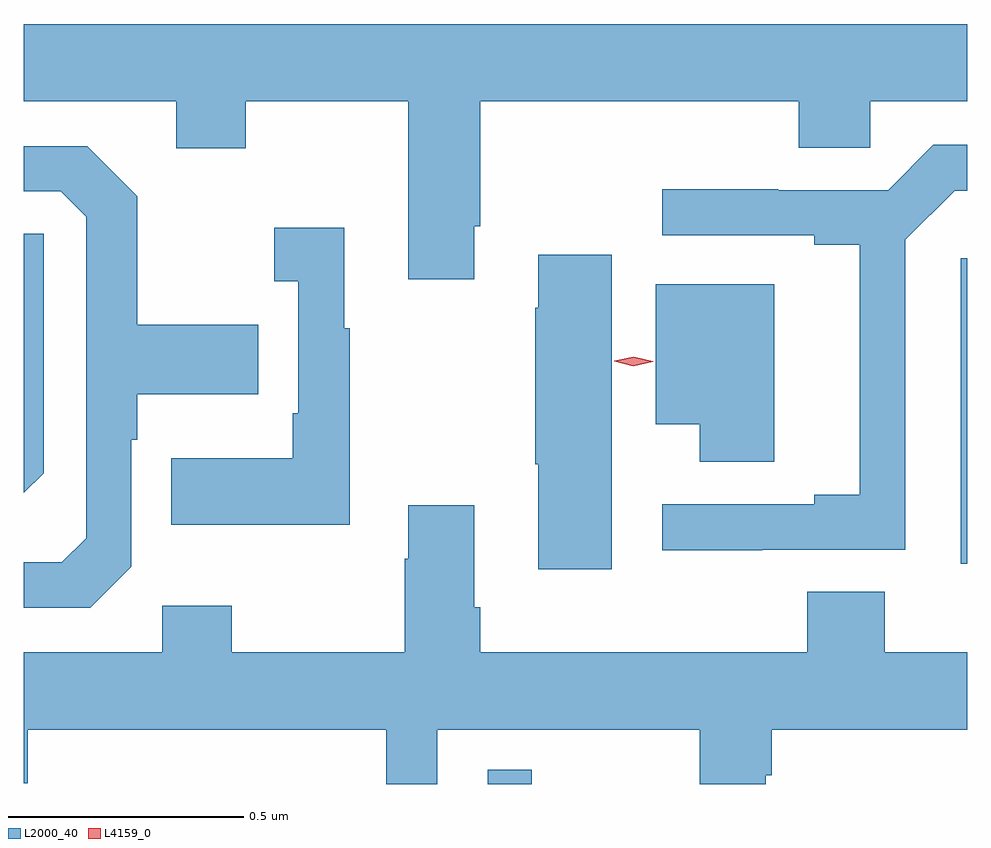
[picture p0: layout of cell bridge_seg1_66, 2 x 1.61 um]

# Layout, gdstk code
import gdstk
lib = gdstk.Library(unit=1e-6, precision=1e-09)
def R(c, l, rs):  # rectangles x0, y0, x1, y1
    for r in rs: c.add(gdstk.rectangle(r[:2], r[2:], *l))
def P(c, l, *ps):  # polygons
    for p in ps: c.add(gdstk.Polygon(p, *l))
L2000_40 = (2000, 40)
L4159_0 = (4159, 0)

bridge_seg1_66 = lib.new_cell('bridge_seg1_66')
R(bridge_seg1_66, L2000_40, [(593.238,542.293,593.331,542.323), (594.24,542.76,594.254,543.407)])
P(bridge_seg1_66, L2000_40, [(593.209,543.475),(593.222,543.475),(593.222,543.74),(593.897,543.74),(593.897,543.642),(594.048,543.642),(594.048,543.74),(594.254,543.74),(594.254,543.904),(592.254,543.904),(592.254,543.74),(592.577,543.74),(592.577,543.641),(592.725,543.641),(592.725,543.74),(593.069,543.74),(593.069,543.363),(593.209,543.363)],
  [(593.819,542.79),(594.123,542.79),(594.123,543.447),(594.227,543.551),(594.254,543.551),(594.254,543.648),(594.182,543.648),(594.086,543.552),(593.853,543.552),(593.853,543.554),(593.607,543.554),(593.607,543.456),(593.93,543.456),(593.93,543.436),(594.026,543.436),(594.026,542.906),(593.93,542.906),(593.93,542.886),(593.607,542.886),(593.607,542.789),(593.819,542.789)],
  [(592.482,542.754),(592.482,543.023),(592.495,543.023),(592.495,543.119),(592.751,543.119),(592.751,543.267),(592.495,543.267),(592.495,543.539),(592.389,543.645),(592.254,543.645),(592.254,543.549),(592.332,543.549),(592.386,543.495),(592.386,542.814),(592.335,542.763),(592.254,542.763),(592.254,542.667),(592.395,542.667)],
  [(592.945,543.259),(592.933,543.259),(592.933,543.472),(592.785,543.472),(592.785,543.359),(592.836,543.359),(592.836,543.079),(592.824,543.079),(592.824,542.983),(592.567,542.983),(592.567,542.843),(592.945,542.843)],
  [(592.296,542.952),(592.296,543.459),(592.254,543.459),(592.254,542.91)],
  [(593.5,543.415),(593.345,543.415),(593.345,543.302),(593.338,543.302),(593.338,542.971),(593.345,542.971),(593.345,542.748),(593.5,542.748)],
  [(593.845,543.352),(593.594,543.352),(593.594,543.056),(593.687,543.056),(593.687,542.976),(593.845,542.976)],
  [(593.13,542.408),(593.687,542.408),(593.687,542.293),(593.827,542.293),(593.827,542.312),(593.84,542.312),(593.84,542.408),(594.254,542.408),(594.254,542.572),(594.079,542.572),(594.079,542.701),(593.915,542.701),(593.915,542.572),(593.222,542.572),(593.222,542.668),(593.209,542.668),(593.209,542.884),(593.069,542.884),(593.069,542.771),(593.062,542.771),(593.062,542.572),(592.695,542.572),(592.695,542.671),(592.548,542.671),(592.548,542.572),(592.254,542.572),(592.254,542.295),(592.262,542.295),(592.262,542.408),(593.022,542.408),(593.022,542.293),(593.13,542.293)])
P(bridge_seg1_66, L4159_0, [(593.546,543.179),(593.506,543.189),(593.506,543.189),(593.506,543.19),(593.547,543.199),(593.587,543.189),(593.588,543.189),(593.587,543.188)])

lib.write_gds('bridge_seg1_66.gds')
